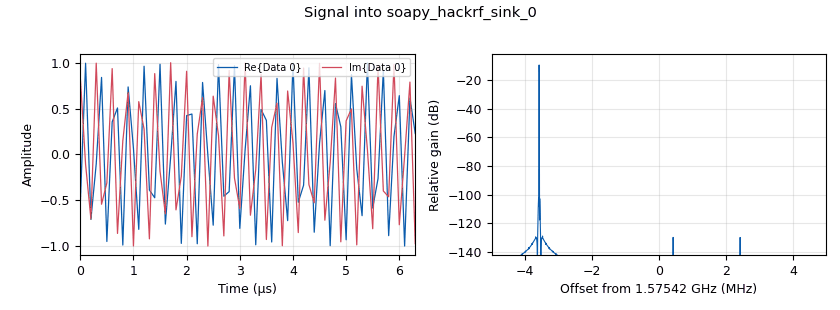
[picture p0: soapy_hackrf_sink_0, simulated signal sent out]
options:
  parameters:
    generate_options: qt_gui
    id: gps_spoofing
    output_language: python
    title: Not titled yet
  states: {}

blocks:
- name: samp_rate
  id: variable
  parameters:
    value: '32000'
  states: {}
- name: analog_sig_source_x_0
  id: analog_sig_source_x
  parameters:
    amp: '1'
    freq: '1.57542e9 '
    offset: '0'
    phase: '0'
    samp_rate: 10e6
    type: complex
    waveform: analog.GR_SIN_WAVE
  states: {}
- name: analog_sig_source_x_1
  id: analog_sig_source_x
  parameters:
    amp: '1'
    freq: 1e6
    offset: '0'
    phase: '0'
    samp_rate: 10e6
    type: complex
    waveform: analog.GR_SIN_WAVE
  states: {}
- name: blocks_multiply_xx_0
  id: blocks_multiply_xx
  parameters:
    type: complex
  states: {}
- name: soapy_hackrf_sink_0
  id: soapy_hackrf_sink
  parameters:
    center_freq: 1.57542e9
    samp_rate: 10e6
    type: fc32
    vga: '20'
  states: {}

connections:
- [analog_sig_source_x_0, '0', blocks_multiply_xx_0, '0']
- [analog_sig_source_x_1, '0', blocks_multiply_xx_0, '1']
- [blocks_multiply_xx_0, '0', soapy_hackrf_sink_0, '0']

metadata:
  file_format: 1
  grc_version: 3.10.10.0
